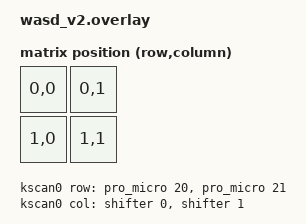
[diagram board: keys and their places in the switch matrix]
/*
 * Copyright (c) 2020 The ZMK Contributors
 *
 * SPDX-License-Identifier: MIT
 */

#include <dt-bindings/zmk/matrix_transform.h>
#include "wasd_v2-layouts.dtsi"

&physical_layout0 {
    transform = <&matrix_transform>;
};

&pro_micro_spi {
	status = "okay";
	cs-gpios = <&pro_micro 10 GPIO_ACTIVE_LOW>;
	shifter: 595@0 {
		compatible = "zmk,gpio-595";
		status = "okay";
		gpio-controller;
		spi-max-frequency = <200000>;
		reg = <0>;
    #gpio-cells = <2>;
		ngpios = <8>;
	};
};

/ {
	chosen {
		zmk,kscan = &kscan0;
		zmk,physical-layout = &physical_layout0;
	};

	matrix_transform: keymap_transform_0 {
		compatible = "zmk,matrix-transform";
		columns = <2>;
		rows = <2>;
		map = <
          RC(0, 0) RC(0, 1)
          RC(1, 0) RC(1, 1)
        >;
    };

	kscan0: kscan_0 {
		compatible = "zmk,kscan-gpio-matrix";
		diode-direction = "col2row";

		col-gpios
			= <&shifter 0 GPIO_ACTIVE_HIGH>
			, <&shifter 1 GPIO_ACTIVE_HIGH>
      ;

		row-gpios
			= <&pro_micro 20 (GPIO_ACTIVE_HIGH | GPIO_PULL_DOWN)>
			, <&pro_micro 21 (GPIO_ACTIVE_HIGH | GPIO_PULL_DOWN)>
			;
	};
};
